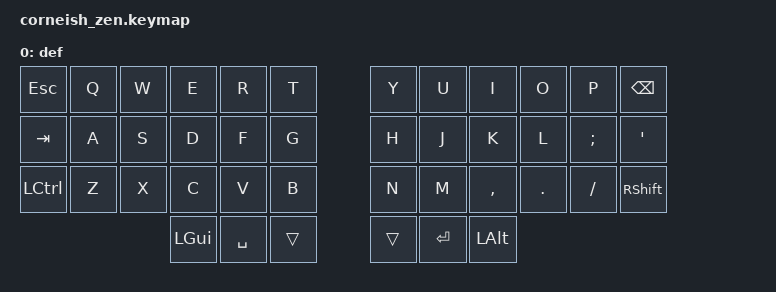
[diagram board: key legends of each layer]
#define CONFIG_WIRELESS

#define ZMK_BASE_LAYER(name, LT, RT, LM, RM, LB, RB, LH, RH)                   \
    ZMK_LAYER(                                                                 \
        name,                                                                  \
                 LT RT                                                         \
                 LM RM                                                         \
                 LB RB                                                         \
        &kp LGUI LH RH &smart_mouse                                            \
    )

#include "zmk-helpers/key-labels/36.h"
#include "base.keymap"
#include <behaviors.dtsi>
#include <dt-bindings/zmk/keys.h>

/ {
    chosen { zmk,physical-layout = &foostan_corne_5col_layout; };

    keymap {
        compatible = "zmk,keymap";

        def {
            bindings = <
&kp ESC    &kp Q  &kp W  &kp E     &kp R      &kp T     &kp Y   &kp U    &kp I      &kp O    &kp P     &kp BSPC
&kp TAB    &kp A  &kp S  &kp D     &kp F      &kp G     &kp H   &kp J    &kp K      &kp L    &kp SEMI  &kp SQT
&kp LCTRL  &kp Z  &kp X  &kp C     &kp V      &kp B     &kp N   &kp M    &kp COMMA  &kp DOT  &kp FSLH  &kp RSHFT
                         &kp LGUI  &kp SPACE  &trans    &trans  &kp RET  &kp LALT
            >;
        };
    };
};
